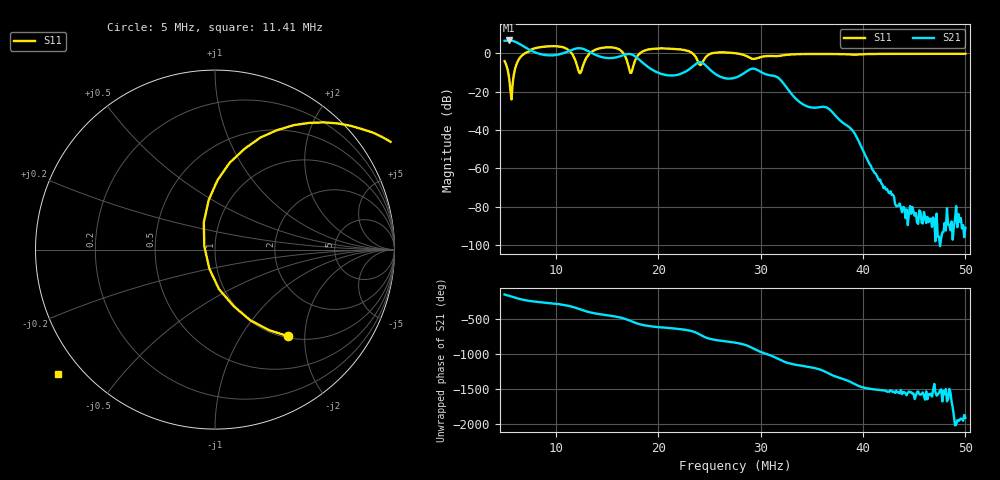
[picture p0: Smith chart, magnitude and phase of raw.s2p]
! S11/S21 only; reverse parameters are placeholders. Device calibration unverified.
! NanoVNA F V2 profile | COM3 | 2026-09-08T12:22:47.0115489-04:00 | device calibration unverified
# HZ S RI R 50
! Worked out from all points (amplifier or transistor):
!   401 points, 5 MHz to 50 MHz, reference 50 ohm
!   highest |S21| = 6.8 dB at 5.45 MHz (marker M1)
!   |S21| within 3 dB of that: start of sweep to 6.822 MHz
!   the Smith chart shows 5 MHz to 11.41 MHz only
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5000000  0.4058 -0.4821  -1.946 -0.8768  0 0  0 0
5450000  0.0224 -0.2207  -2.173 -0.2232  0 0  0 0
6350000  0.2531 0.6244  -1.522 1.037  0 0  0 0
7250000  0.8809 0.6515  -0.6148 1.173  0 0  0 0
7812500  0.5689 -1.199  -0.3028 1.069  0 0  0 0
9837500  -0.1619 -1.541  0.2341 0.8696  0 0  0 0
1.1525e7  -0.872 -0.5528  1.029 0.669  0 0  0 0
1.25375e7  0.2243 0.3017  1.303 -0.3401  0 0  0 0
1.3775e7  1.086 -0.5574  0.4319 -0.8412  0 0  0 0
1.56875e7  0.4877 -1.328  -0.2101 -0.7425  0 0  0 0
1.6475e7  -0.1956 -1.095  -0.5629 -0.6766  0 0  0 0
1.715e7  -0.3985 -0.0559  -0.925 -0.2847  0 0  0 0
1.83875e7  1.072 0.2083  -0.4212 0.4332  0 0  0 0
2.0075e7  1.268 -0.4496  -0.0487 0.3041  0 0  0 0
2.3e7  0.7858 -0.8252  0.2312 0.3024  0 0  0 0
2.40125e7  0.3825 -0.3592  0.5901 -0.00942  0 0  0 0
2.75e7  0.8539 -0.5528  -0.1181 -0.1988  0 0  0 0
2.9975e7  0.7208 -0.3454  -0.1053 0.3182  0 0  0 0
3.50375e7  0.7032 -0.6655  -0.0164 -0.0349  0 0  0 0
3.88625e7  0.5346 -0.7622  0.00886 0.00571  0 0  0 0
4.2575e7  0.4414 -0.8676  -4.1e-05 -0.000218  0 0  0 0
5e7  0.1595 -0.9657  -1e-05 -2.6e-05  0 0  0 0
